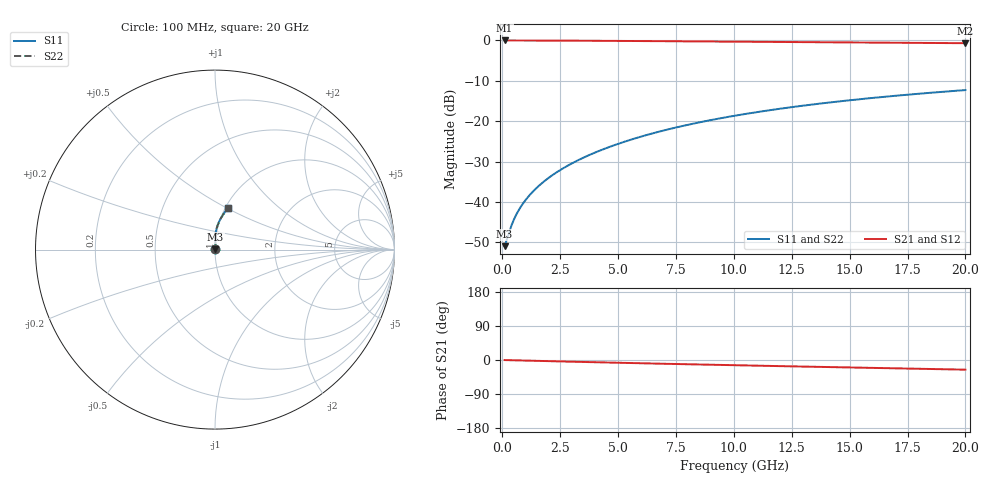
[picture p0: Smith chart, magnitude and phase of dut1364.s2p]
! Touchstone file exported from HFSS 2024.1.0
!  File:  C:/UserFiles/LocalFiles/RDL_TSV_Batchsim/temp_RDL_top_1364_1780366684.aedt
!  Generated:  10:20:40 AM Jun  2, 2026
!  Design:  RDL_top
!  Project:  temp_RDL_top_1364_1780366684
!  Setup:  Setup1
!  Solution:  Sweep
! Variables:
!  dtsv = 10.80580581um
!  hbump = 3um
!  htsv = 69.5um
!  ldown = 100um
!  lrdl = 339.61um
!  p = 40
!  p1 = 50.57um
!  rhole = 1um
!  t = 450um
!  tdown = 3.915915916um
!  trdl = 2.06um
!  wdown = 15.38538539um
!  wrdl = 26.81um
# GHz S MA R 50.000000
! Terminal data exported
! Port[1] = Box2_T1
! Port[2] = Box2_T2
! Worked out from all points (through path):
!   200 points, 100 MHz to 20 GHz, reference 50 ohm
!   highest |S21| = -0.02 dB at 100 MHz (marker M1); lowest = -0.7 dB at 20 GHz (marker M2)
!   group delay of S21, straight-line fit = 3.49 ps
!   lowest |S11| = -51.0 dB at 100 MHz (marker M3), VSWR 1.01, Z = 50.3 + j0.112 ohm
!   |S11| at or under -10 dB: start of sweep to end of sweep
!   |S22| runs from -51.0 to -12.3 dB; largest |S21 - S12| = 2.6e-15
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0.1  0.002833 23.1  0.9974 -0.2  0.9974 -0.2  0.002833 23.1
! Gamma 0 0 0 0
! Port Impedance 50 0 50 0
0.3  0.004271 49.8  0.9972 -0.5  0.9972 -0.5  0.004271 49.8
0.4  0.005146 56.4  0.997 -0.6  0.997 -0.6  0.005147 56.4
0.5  0.006039 60.9  0.9969 -0.8  0.9969 -0.8  0.00604 60.9
0.6  0.006933 64.3  0.9967 -0.9  0.9967 -0.9  0.006934 64.3
0.7  0.007825 66.9  0.9965 -1.1  0.9965 -1.1  0.007826 66.9
0.9  0.009609 71.0  0.9962 -1.4  0.9962 -1.4  0.009611 71.0
1.2  0.01231 75.3  0.9958 -1.8  0.9958 -1.8  0.01232 75.3
1.7  0.01696 80.0  0.9949 -2.6  0.9949 -2.6  0.01696 80.0
2.2  0.0218 83.1  0.9938 -3.3  0.9938 -3.3  0.0218 83.0
2.8  0.02786 85.5  0.9923 -4.2  0.9923 -4.2  0.02785 85.5
3.5  0.03527 87.3  0.9902 -5.2  0.9902 -5.2  0.03526 87.3
4.2  0.04304 88.4  0.9878 -6.2  0.9878 -6.2  0.04303 88.4
5  0.05233 89.0  0.9848 -7.3  0.9848 -7.3  0.05231 89.0
5.9  0.06322 89.2  0.9812 -8.5  0.9812 -8.5  0.06319 89.1
6.8  0.07448 88.8  0.9775 -9.7  0.9775 -9.7  0.07445 88.8
8.4  0.09514 87.6  0.9708 -11.8  0.9708 -11.8  0.09508 87.5
10.1  0.1175 85.7  0.9636 -13.9  0.9636 -13.9  0.1174 85.6
11.7  0.1386 83.6  0.9569 -15.8  0.9569 -15.8  0.1385 83.5
13.4  0.1608 81.3  0.9499 -17.9  0.9499 -17.9  0.1607 81.2
16.7  0.2027 76.7  0.9362 -21.7  0.9362 -21.7  0.2025 76.6
20  0.2424 72.2  0.9223 -25.5  0.9223 -25.5  0.2422 72.2
